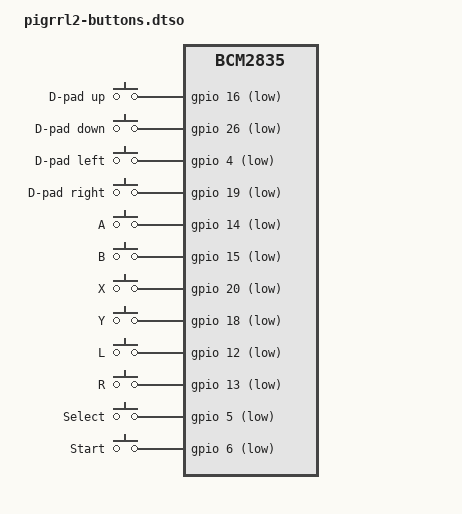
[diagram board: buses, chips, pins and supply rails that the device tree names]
// SPDX-License-Identifier: MIT
/*
 * pigrrl2-buttons: the 12 buttons of an Adafruit PiGRRL 2 as ONE gamepad
 * ("PiGRRL 2 buttons", gpio-keys), for the Raspberry Pi 2/3 images of
 * RetroStoneOS (docs/boards/pigrrl2.md). config.txt:
 *
 *   dtoverlay=pigrrl2-buttons
 *   dtoverlay=pigrrl2-buttons,a=15,b=14          (other GPIOs, see below)
 *
 * The buttons report the Linux gamepad codes (BTN_DPAD_*, BTN_EAST = A,
 * BTN_SOUTH = B, BTN_NORTH = X, BTN_WEST = Y, BTN_TL/TR, BTN_SELECT/START)
 * and the board profile names this device as the built-in pad
 * (board.ini builtin_pad_prefix = PiGRRL), so the frontend maps it
 * positionally, never through gamecontrollerdb (whose gpio-keys GUID
 * 19000000010000000100000000010000 is another handheld's).
 *
 * The default GPIO numbers (BCM numbering) are the ones a PiGRRL 2 tester
 * reported (issue #6: 0.1.4 had up/down, L/Select and R/Start swapped).
 * Each button has a parameter (up, down, left, right, a, b, x, y, l, r,
 * select, start) to move it to another GPIO. A button closes its GPIO
 * to ground (active low, internal pull-up).
 *
 * The pins are configured by the gpio-keys driver itself when it requests
 * them (no pinctrl node here, so an override only has to change one
 * number); GPIO_PULL_UP asks the BCM2835 pin controller for the pull-up.
 */
/dts-v1/;
/plugin/;

#include <dt-bindings/gpio/gpio.h>
#include <dt-bindings/input/linux-event-codes.h>

/ {
	compatible = "brcm,bcm2835";

	fragment@0 {
		target-path = "/";
		__overlay__ {
			pigrrl2_buttons: pigrrl2-buttons {
				compatible = "gpio-keys";
				label = "PiGRRL 2 buttons";
				status = "okay";

				key_up: up {
					label = "D-pad up";
					linux,code = <BTN_DPAD_UP>;
					gpios = <&gpio 16 (GPIO_ACTIVE_LOW | GPIO_PULL_UP)>;
				};
				key_down: down {
					label = "D-pad down";
					linux,code = <BTN_DPAD_DOWN>;
					gpios = <&gpio 26 (GPIO_ACTIVE_LOW | GPIO_PULL_UP)>;
				};
				key_left: left {
					label = "D-pad left";
					linux,code = <BTN_DPAD_LEFT>;
					gpios = <&gpio 4 (GPIO_ACTIVE_LOW | GPIO_PULL_UP)>;
				};
				key_right: right {
					label = "D-pad right";
					linux,code = <BTN_DPAD_RIGHT>;
					gpios = <&gpio 19 (GPIO_ACTIVE_LOW | GPIO_PULL_UP)>;
				};
				key_a: a {
					label = "A";
					linux,code = <BTN_EAST>;
					gpios = <&gpio 14 (GPIO_ACTIVE_LOW | GPIO_PULL_UP)>;
				};
				key_b: b {
					label = "B";
					linux,code = <BTN_SOUTH>;
					gpios = <&gpio 15 (GPIO_ACTIVE_LOW | GPIO_PULL_UP)>;
				};
				key_x: x {
					label = "X";
					linux,code = <BTN_NORTH>;
					gpios = <&gpio 20 (GPIO_ACTIVE_LOW | GPIO_PULL_UP)>;
				};
				key_y: y {
					label = "Y";
					linux,code = <BTN_WEST>;
					gpios = <&gpio 18 (GPIO_ACTIVE_LOW | GPIO_PULL_UP)>;
				};
				key_l: l {
					label = "L";
					linux,code = <BTN_TL>;
					gpios = <&gpio 12 (GPIO_ACTIVE_LOW | GPIO_PULL_UP)>;
				};
				key_r: r {
					label = "R";
					linux,code = <BTN_TR>;
					gpios = <&gpio 13 (GPIO_ACTIVE_LOW | GPIO_PULL_UP)>;
				};
				key_select: select {
					label = "Select";
					linux,code = <BTN_SELECT>;
					gpios = <&gpio 5 (GPIO_ACTIVE_LOW | GPIO_PULL_UP)>;
				};
				key_start: start {
					label = "Start";
					linux,code = <BTN_START>;
					gpios = <&gpio 6 (GPIO_ACTIVE_LOW | GPIO_PULL_UP)>;
				};
			};
		};
	};

	__overrides__ {
		up =     <&key_up>, "gpios:4";
		down =   <&key_down>, "gpios:4";
		left =   <&key_left>, "gpios:4";
		right =  <&key_right>, "gpios:4";
		a =      <&key_a>, "gpios:4";
		b =      <&key_b>, "gpios:4";
		x =      <&key_x>, "gpios:4";
		y =      <&key_y>, "gpios:4";
		l =      <&key_l>, "gpios:4";
		r =      <&key_r>, "gpios:4";
		select = <&key_select>, "gpios:4";
		start =  <&key_start>, "gpios:4";
	};
};
